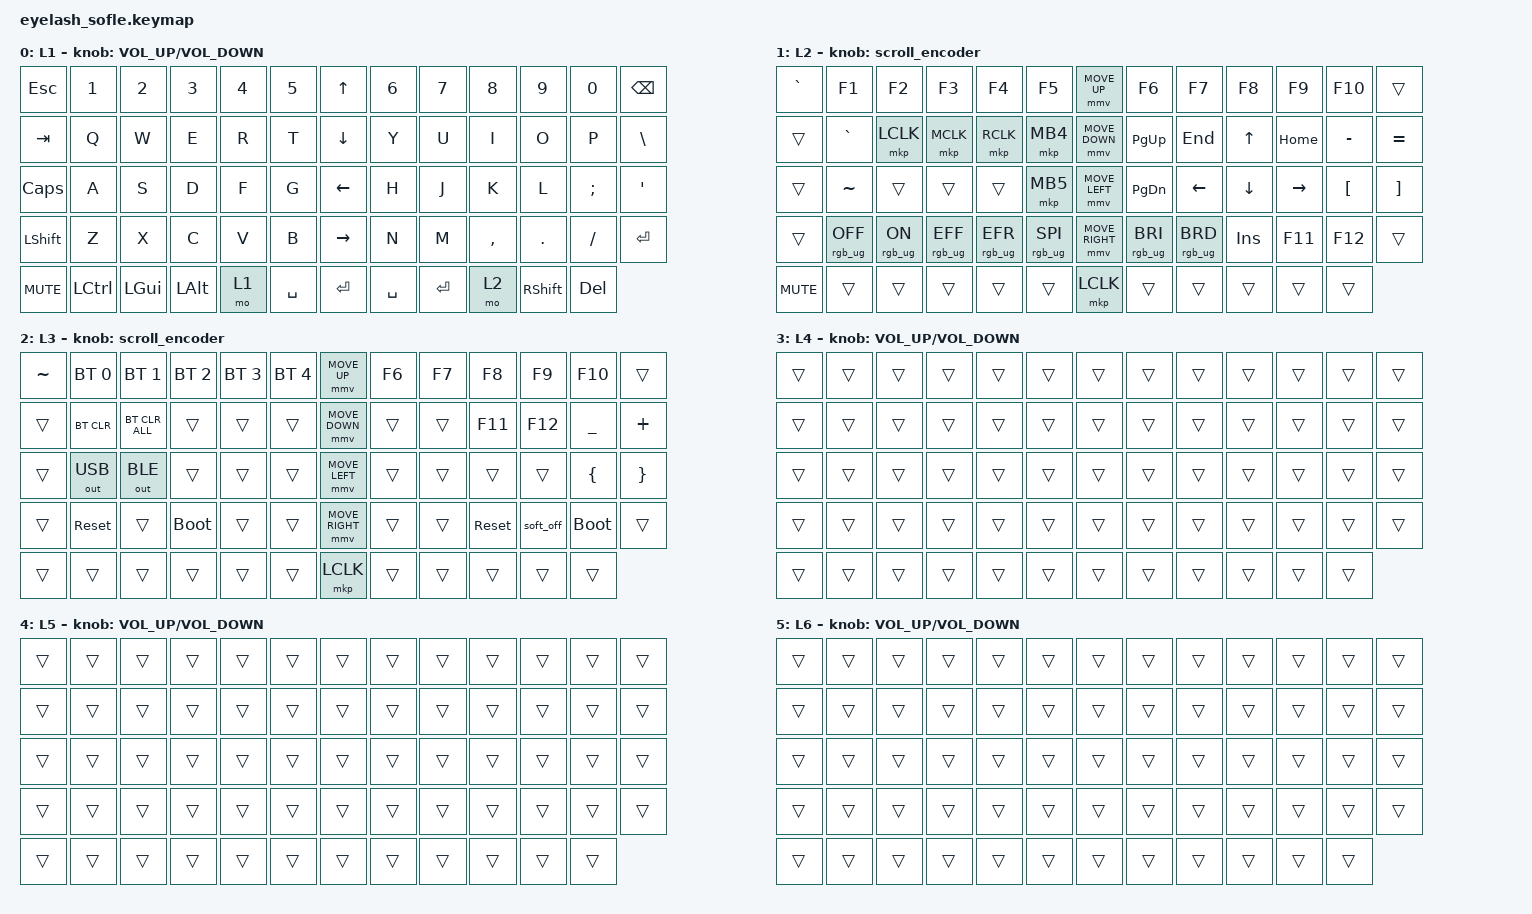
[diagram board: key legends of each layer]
#include <input/processors.dtsi>
#include <behaviors.dtsi>
#include <dt-bindings/zmk/bt.h>
#include <dt-bindings/zmk/keys.h>
#include <dt-bindings/zmk/outputs.h>
#include <dt-bindings/zmk/pointing.h>
#include <dt-bindings/zmk/rgb.h>
#include <zephyr/dt-bindings/input/input-event-codes.h>

    &mmv_input_listener {
            input-processors = <&zip_xy_scaler 2 1>;
    };
    
    &msc_input_listener {
            input-processors = <&zip_scroll_scaler 2 1>;
    };
    
    &msc {
        acceleration-exponent = <0>;      // 0
        time-to-max-speed-ms = <0>;       // 300
        delay-ms = <0>;                   // 0
    };
    
    &mmv {
        time-to-max-speed-ms = <400>;
        acceleration-exponent = <1>;
    };
    
    / {
            zip_xy_scaler: zip_xy_scaler {
    compatible = "zmk,input-processor-scaler";
    #input-processor-cells = <2>;
    type = <INPUT_EV_REL>;
    codes = <INPUT_REL_X INPUT_REL_Y>;
    track-remainders;
};
        
    zip_scroll_scaler: zip_scroll_scaler {
        compatible = "zmk,input-processor-scaler";
        #input-processor-cells = <2>;
        type = <INPUT_EV_REL>;
        codes = <INPUT_REL_WHEEL INPUT_REL_HWHEEL>;
        track-remainders;
    };
    
    hm: homerow_mods {
        compatible = "zmk,behavior-hold-tap";
        label = "HOMEROW_MODS";
        bindings = <&kp>, <&kp>;  
        #binding-cells = <2>;
        tapping-term-ms = <200>;
        quick-tap-ms = <180>;
        flavor = "tap-preferred";
    };  
    ltq: ltq {
        compatible = "zmk,behavior-hold-tap";
        label = "LTQ";
        bindings = <&mo>, <&kp>;  
        #binding-cells = <2>;
        tapping-term-ms = <200>;
        quick-tap-ms = <180>;
    };  
    as: auto_shift {
        compatible = "zmk,behavior-hold-tap";
        label = "AUTO_SHIFT";
        bindings = <&kp>, <&kp>;  
        #binding-cells = <2>;
        tapping-term-ms = <135>;
        quick-tap-ms = <0>;
    };  
    rgb_encoder: rgb_encoder {
        compatible = "zmk,behavior-sensor-rotate";
        label = "RGB_ENCODER";
        #sensor-binding-cells = <0>;
        bindings = <&rgb_ug RGB_BRI>, <&rgb_ug RGB_BRD>;
    };  
    scroll_encoder: scroll_encoder {
        compatible = "zmk,behavior-sensor-rotate";
        #sensor-binding-cells = <0>;
        bindings = <&msc SCRL_DOWN>, <&msc SCRL_UP>;
        tap-ms = <30>;
    };
    
    keymap {
            compatible = "zmk,keymap";

            layer_1 {
                bindings = <
    &kp ESC     &kp N1     &kp N2        &kp N3        &kp N4  &kp N5       &kp UP_ARROW     &kp N6     &kp N7     &kp N8     &kp N9           &kp N0      &kp BACKSPACE
    &kp TAB     &kp Q      &kp W         &kp E         &kp R   &kp T        &kp DOWN_ARROW   &kp Y      &kp U      &kp I      &kp O            &kp P       &kp BSLH
    &kp CAPS    &kp A      &kp S         &kp D         &kp F   &kp G        &kp LEFT_ARROW   &kp H      &kp J      &kp K      &kp L            &kp SEMI    &kp APOS
    &kp LSHFT   &kp Z      &kp X         &kp C         &kp V   &kp B        &kp RIGHT_ARROW  &kp N      &kp M      &kp COMMA  &kp DOT          &kp FSLH    &kp ENTER
    &kp C_MUTE  &kp LCTRL  &kp LEFT_GUI  &kp LEFT_ALT  &mo 1   &kp SPACE    &kp ENTER        &kp SPACE  &kp ENTER  &mo 2      &kp RIGHT_SHIFT  &kp DELETE
                >;

                display-name = "L1";
                sensor-bindings = <&inc_dec_kp C_VOLUME_UP C_VOLUME_DOWN>;            
            };

            layer_2 {
                bindings = <
    &kp GRAVE   &kp F1           &kp F2          &kp F3           &kp F4           &kp F5             &mmv MOVE_UP     &kp F6           &kp F7           &kp F8      &kp F9     &kp F10           &trans
    &trans      &kp GRAVE        &mkp LCLK       &mkp MCLK        &mkp RCLK        &mkp MB4           &mmv MOVE_DOWN   &kp PG_UP        &kp END          &kp UP      &kp HOME   &kp MINUS         &kp EQUAL
    &trans      &kp TILDE        &trans          &trans           &trans           &mkp MB5           &mmv MOVE_LEFT   &kp PG_DN        &kp LEFT         &kp DOWN    &kp RIGHT  &kp LEFT_BRACKET  &kp RIGHT_BRACKET
    &trans      &rgb_ug RGB_OFF  &rgb_ug RGB_ON  &rgb_ug RGB_EFF  &rgb_ug RGB_EFR  &rgb_ug RGB_SPI    &mmv MOVE_RIGHT  &rgb_ug RGB_BRI  &rgb_ug RGB_BRD  &kp INSERT  &kp F11    &kp F12           &trans
    &kp C_MUTE  &trans           &trans          &trans           &trans           &trans             &mkp LCLK        &trans           &trans           &trans      &trans     &trans
                >;

                display-name = "L2";
                sensor-bindings = <&scroll_encoder>;
            };

            layer_3 {
                bindings = <
    &kp TILDE  &bt BT_SEL 0  &bt BT_SEL 1    &bt BT_SEL 2  &bt BT_SEL 3  &bt BT_SEL 4    &mmv MOVE_UP     &kp F6  &kp F7  &kp F8      &kp F9     &kp F10      &trans
    &trans     &bt BT_CLR    &bt BT_CLR_ALL  &trans        &trans        &trans          &mmv MOVE_DOWN   &trans  &trans  &kp F11     &kp F12    &kp UNDER    &kp PLUS
    &trans     &out OUT_USB  &out OUT_BLE    &trans        &trans        &trans          &mmv MOVE_LEFT   &trans  &trans  &trans      &trans     &kp LBRC     &kp RBRC
    &trans     &sys_reset    &trans          &bootloader   &trans        &trans          &mmv MOVE_RIGHT  &trans  &trans  &sys_reset  &soft_off  &bootloader  &trans
    &trans     &trans        &trans          &trans        &trans        &trans          &mkp LCLK        &trans  &trans  &trans      &trans     &trans
                >;

                display-name = "L3";
                sensor-bindings = <&scroll_encoder>;
            };

            layer_4 {
                bindings = <
    &trans  &trans  &trans  &trans  &trans  &trans    &trans  &trans  &trans  &trans  &trans  &trans  &trans
    &trans  &trans  &trans  &trans  &trans  &trans    &trans  &trans  &trans  &trans  &trans  &trans  &trans
    &trans  &trans  &trans  &trans  &trans  &trans    &trans  &trans  &trans  &trans  &trans  &trans  &trans
    &trans  &trans  &trans  &trans  &trans  &trans    &trans  &trans  &trans  &trans  &trans  &trans  &trans
    &trans  &trans  &trans  &trans  &trans  &trans    &trans  &trans  &trans  &trans  &trans  &trans
                >;

                display-name = "L4";
                sensor-bindings = <&inc_dec_kp C_VOLUME_UP C_VOLUME_DOWN>;
            };

            layer_5 {
                bindings = <
    &trans  &trans  &trans  &trans  &trans  &trans    &trans  &trans  &trans  &trans  &trans  &trans  &trans
    &trans  &trans  &trans  &trans  &trans  &trans    &trans  &trans  &trans  &trans  &trans  &trans  &trans
    &trans  &trans  &trans  &trans  &trans  &trans    &trans  &trans  &trans  &trans  &trans  &trans  &trans
    &trans  &trans  &trans  &trans  &trans  &trans    &trans  &trans  &trans  &trans  &trans  &trans  &trans
    &trans  &trans  &trans  &trans  &trans  &trans    &trans  &trans  &trans  &trans  &trans  &trans
                >;

                display-name = "L5";
                sensor-bindings = <&inc_dec_kp C_VOLUME_UP C_VOLUME_DOWN>;
            };
        
            layer_6 {
                bindings = <
    &trans  &trans  &trans  &trans  &trans  &trans    &trans  &trans  &trans  &trans  &trans  &trans  &trans
    &trans  &trans  &trans  &trans  &trans  &trans    &trans  &trans  &trans  &trans  &trans  &trans  &trans
    &trans  &trans  &trans  &trans  &trans  &trans    &trans  &trans  &trans  &trans  &trans  &trans  &trans
    &trans  &trans  &trans  &trans  &trans  &trans    &trans  &trans  &trans  &trans  &trans  &trans  &trans
    &trans  &trans  &trans  &trans  &trans  &trans    &trans  &trans  &trans  &trans  &trans  &trans
                >;  

                display-name = "L6";
                sensor-bindings = <&inc_dec_kp C_VOLUME_UP C_VOLUME_DOWN>;
            }; 
    };
};
